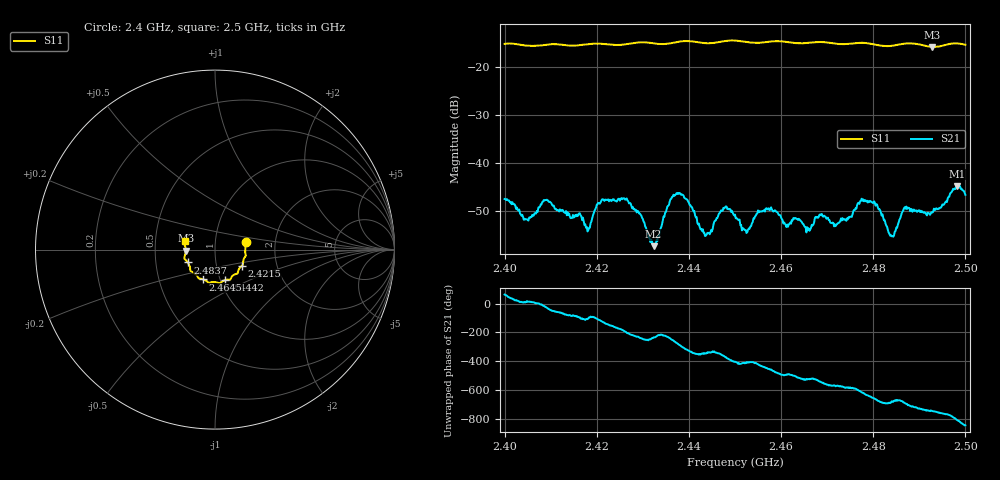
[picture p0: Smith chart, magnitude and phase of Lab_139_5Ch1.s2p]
# Hz S RI R 50
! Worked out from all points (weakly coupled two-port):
!   601 points, 2.4 GHz to 2.5 GHz, reference 50 ohm
!   highest |S21| = -44.70 dB at 2.4982 GHz (marker M1); lowest = -57.3 dB at 2.4323 GHz (marker M2)
!   lowest |S11| = -15.7 dB at 2.4928 GHz (marker M3), VSWR 1.39, Z = 35.9 - j0.394 ohm
!   |S11| at or under -10 dB: start of sweep to end of sweep
!   S12 and S22 are empty: the file has one direction only
!   S11 on the Smith chart (normalised r, x): 2.4 GHz: 1.41, +0.12; 2.4215 GHz: 1.33, -0.25; 2.4442 GHz: 1.05, -0.37; 2.4645 GHz: 0.83, -0.29; 2.4837 GHz: 0.73, -0.11; 2.5 GHz: 0.71, +0.07
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2.4e9  0.1714 0.0401  0.00192 0.0038  0 0  0 0
2.404667e9  0.1683 0.013  0.00257 0.00049  0 0  0 0
2.409e9  0.17 -0.0254  0.00379 -0.00171  0 0  0 0
2.416667e9  0.1568 -0.0699  -0.000749 -0.00269  0 0  0 0
2.418167e9  0.1557 -0.0798  -0.000435 -0.00198  0 0  0 0
2.4215e9  0.1511 -0.0896  -0.00265 -0.00322  0 0  0 0
2.426833e9  0.1288 -0.12  -0.00361 0.00176  0 0  0 0
2.432333e9  0.1152 -0.1357  -0.000804 0.00111  0 0  0 0
2.433333e9  0.1083 -0.1384  -0.00135 0.00108  0 0  0 0
2.437667e9  0.087 -0.1633  0.0009 0.00482  0 0  0 0
2.444167e9  0.0565 -0.1694  0.00178 0.000628  0 0  0 0
2.447667e9  0.0318 -0.1851  0.00338 -0.000287  0 0  0 0
2.45e9  0.0252 -0.1891  0.00216 -0.00198  0 0  0 0
2.4645e9  -0.0658 -0.166  -0.00231 -0.000807  0 0  0 0
2.466667e9  -0.0826 -0.1621  -0.00214 -0.00081  0 0  0 0
2.477833e9  -0.1378 -0.1168  -0.000784 0.00413  0 0  0 0
2.483333e9  -0.149 -0.0751  0.00163 0.000981  0 0  0 0
2.483667e9  -0.1509 -0.0719  0.00153 0.000888  0 0  0 0
2.487e9  -0.1702 -0.0507  0.00299 0.00155  0 0  0 0
2.492833e9  -0.1635 -0.00533  0.00277 -0.00134  0 0  0 0
2.498167e9  -0.1732 0.0411  0.000376 -0.00581  0 0  0 0
2.5e9  -0.1651 0.0504  -0.00263 -0.00388  0 0  0 0
